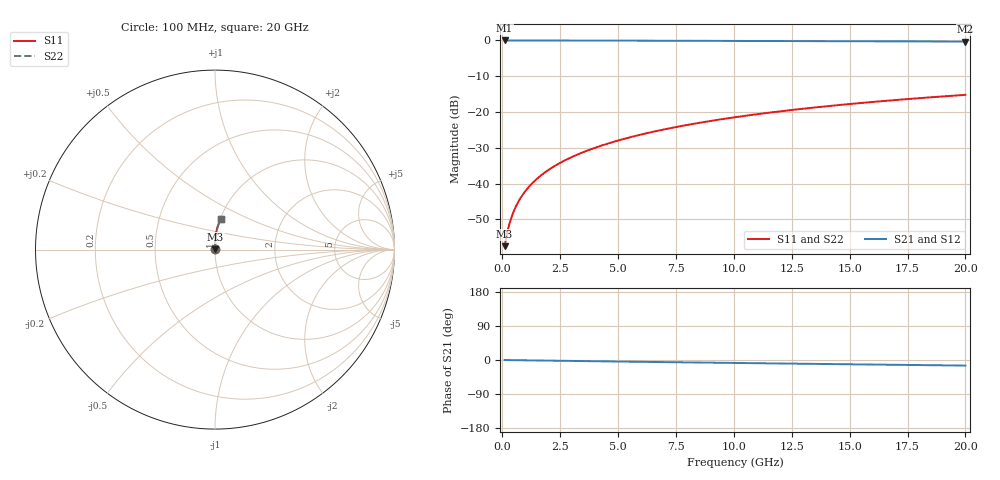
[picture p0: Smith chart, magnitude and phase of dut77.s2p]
! Touchstone file exported from HFSS 2024.1.0
!  File:  C:/UserFiles/LocalFiles/RDL_TSV_Batchsim/temp_RDL_top_77_1778682323.aedt
!  Generated:  10:27:36 PM May 13, 2026
!  Design:  RDL_top
!  Project:  temp_RDL_top_77_1778682323
!  Setup:  Setup1
!  Solution:  Sweep
! Variables:
!  dtsv = 10.80580581um
!  hbump = 3um
!  htsv = 79.93um
!  ldown = 100um
!  lrdl = 160.91um
!  p = 40
!  p1 = 54.22um
!  rhole = 1um
!  t = 450um
!  tdown = 3.915915916um
!  trdl = 3.21um
!  wdown = 15.38538539um
!  wrdl = 22.25um
# GHz S MA R 50.000000
! Terminal data exported
! Port[1] = Box2_T1
! Port[2] = Box2_T2
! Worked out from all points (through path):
!   200 points, 100 MHz to 20 GHz, reference 50 ohm
!   highest |S21| = -0.01 dB at 100 MHz (marker M1); lowest = -0.3 dB at 20 GHz (marker M2)
!   group delay of S21, straight-line fit = 2.03 ps
!   lowest |S11| = -57.5 dB at 100 MHz (marker M3), VSWR 1.00, Z = 50.1 + j0.0832 ohm
!   |S11| at or under -10 dB: start of sweep to end of sweep
!   |S22| runs from -57.5 to -15.2 dB; largest |S21 - S12| = 3.4e-15
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0.1  0.001335 38.4  0.999 -0.1  0.999 -0.1  0.001335 38.4
! Gamma 0 0 0 0
! Port Impedance 50 0 50 0
0.2  0.001966 56.6  0.9989 -0.2  0.9989 -0.2  0.001966 56.6
0.3  0.002678 65.2  0.9989 -0.3  0.9989 -0.3  0.002678 65.2
0.4  0.003408 70.2  0.9988 -0.3  0.9988 -0.3  0.003408 70.2
0.5  0.004144 73.4  0.9987 -0.4  0.9987 -0.4  0.004144 73.4
0.6  0.004883 75.8  0.9987 -0.5  0.9987 -0.5  0.004883 75.8
0.8  0.006374 79.0  0.9986 -0.7  0.9986 -0.7  0.006374 79.0
1.1  0.008635 82.0  0.9984 -0.9  0.9984 -0.9  0.008635 82.0
1.5  0.01169 84.2  0.9982 -1.3  0.9982 -1.3  0.01169 84.2
1.8  0.01401 85.4  0.9979 -1.5  0.9979 -1.5  0.01401 85.4
2.1  0.01634 86.2  0.9977 -1.8  0.9977 -1.8  0.01634 86.2
2.7  0.02107 87.3  0.997 -2.2  0.997 -2.2  0.02107 87.3
3.5  0.0275 88.2  0.996 -2.9  0.996 -2.9  0.0275 88.2
4.2  0.03324 88.6  0.9949 -3.4  0.9949 -3.4  0.03324 88.6
5  0.03994 88.8  0.9936 -4.1  0.9936 -4.1  0.03994 88.8
5.9  0.04763 88.8  0.9919 -4.8  0.9919 -4.8  0.04763 88.8
6.8  0.05547 88.6  0.9902 -5.4  0.9902 -5.4  0.05547 88.6
8.4  0.06965 88.0  0.9871 -6.6  0.9871 -6.6  0.06966 88.0
10.1  0.08496 87.0  0.9838 -7.9  0.9838 -7.9  0.08496 87.0
13.4  0.1149 84.5  0.9774 -10.2  0.9774 -10.2  0.1149 84.5
16.7  0.1445 81.9  0.971 -12.5  0.971 -12.5  0.1445 81.9
20  0.1736 79.3  0.9643 -14.7  0.9643 -14.7  0.1736 79.3
